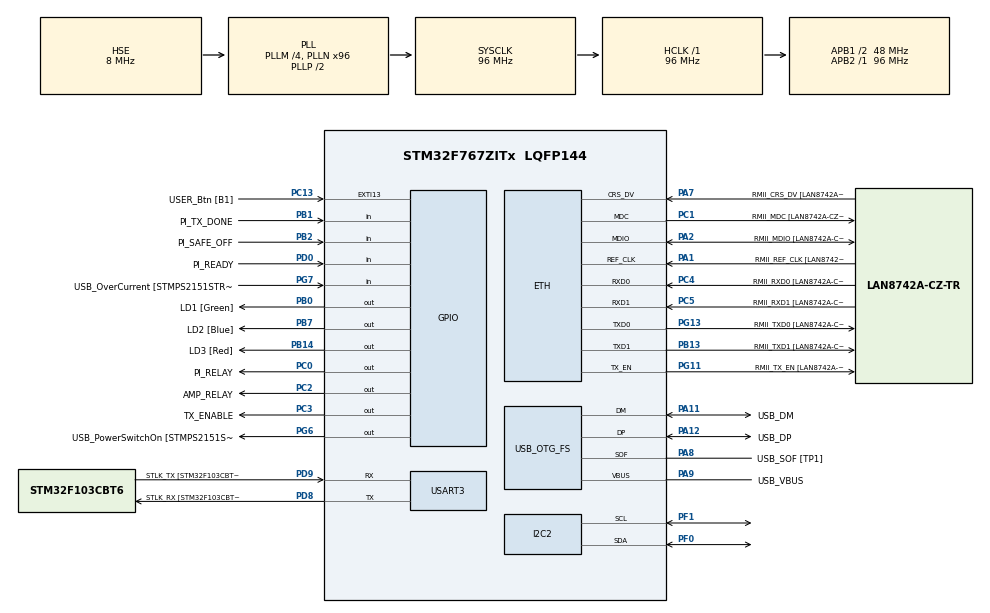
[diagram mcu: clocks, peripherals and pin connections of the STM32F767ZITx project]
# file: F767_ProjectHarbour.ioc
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CORTEX_M7.default_mode_Activation=1
ETH.MediaInterface=HAL_ETH_RMII_MODE
ETH.PHY_Name=LAN8742A_PHY_ADDRESS
ETH.PHY_Value=0
ETH.PhyAddress=0
I2C2.Timing=0x20303E5D
Mcu.Family=STM32F7
Mcu.Name=STM32F767ZITx
Mcu.Package=LQFP144
NVIC.PriorityGroup=NVIC_PRIORITYGROUP_4
PA1.GPIO_Label=RMII_REF_CLK [LAN8742A-CZ-TR_REFCLK0]
PA1.Mode=RMII
PA1.Signal=ETH_REF_CLK
PA10.GPIO_Label=USB_ID
PA10.Signal=USB_OTG_FS_ID
PA11.GPIO_Label=USB_DM
PA11.Mode=Device_Only
PA11.Signal=USB_OTG_FS_DM
PA12.GPIO_Label=USB_DP
PA12.Mode=Device_Only
PA12.Signal=USB_OTG_FS_DP
PA13.GPIO_Label=TMS
PA13.Mode=Serial_Wire
PA13.Signal=SYS_JTMS-SWDIO
PA14.GPIO_Label=TCK
PA14.Mode=Serial_Wire
PA14.Signal=SYS_JTCK-SWCLK
PA2.GPIO_Label=RMII_MDIO [LAN8742A-CZ-TR_MDIO]
PA2.Mode=RMII
PA2.Signal=ETH_MDIO
PA7.GPIO_Label=RMII_CRS_DV [LAN8742A-CZ-TR_CRS_DV]
PA7.Mode=RMII
PA7.Signal=ETH_CRS_DV
PA8.GPIO_Label=USB_SOF [TP1]
PA8.Mode=Activate_SOF_FS
PA8.Signal=USB_OTG_FS_SOF
PA9.GPIO_Label=USB_VBUS
PA9.Mode=Activate_VBUS
PA9.Signal=USB_OTG_FS_VBUS
PB0.GPIO_Label=LD1 [Green]
PB0.Signal=GPIO_Output
PB1.GPIO_Label=PI_TX_DONE
PB1.GPIO_PuPd=GPIO_PULLDOWN
PB1.Signal=GPIO_Input
PB13.GPIO_Label=RMII_TXD1 [LAN8742A-CZ-TR_TXD1]
PB13.Mode=RMII
PB13.Signal=ETH_TXD1
PB14.GPIO_Label=LD3 [Red]
PB14.Signal=GPIO_Output
PB2.GPIO_Label=PI_SAFE_OFF
PB2.GPIO_PuPd=GPIO_PULLDOWN
PB2.Signal=GPIO_Input
PB3.GPIO_Label=SWO
PB3.Signal=SYS_JTDO-SWO
PB7.GPIO_Label=LD2 [Blue]
PB7.Signal=GPIO_Output
PC0.GPIO_Label=PI_RELAY
PC0.PinState=GPIO_PIN_SET
PC0.Signal=GPIO_Output
PC1.GPIO_Label=RMII_MDC [LAN8742A-CZ-TR_MDC]
PC1.Mode=RMII
PC1.Signal=ETH_MDC
PC13.GPIO_Label=USER_Btn [B1]
PC13.Signal=GPXTI13
PC14/OSC32_IN.Mode=LSE-External-Oscillator
PC14/OSC32_IN.Signal=RCC_OSC32_IN
PC15/OSC32_OUT.Mode=LSE-External-Oscillator
PC15/OSC32_OUT.Signal=RCC_OSC32_OUT
PC2.GPIO_Label=AMP_RELAY
PC2.PinState=GPIO_PIN_SET
PC2.Signal=GPIO_Output
PC3.GPIO_Label=TX_ENABLE
PC3.Signal=GPIO_Output
PC4.GPIO_Label=RMII_RXD0 [LAN8742A-CZ-TR_RXD0]
PC4.Mode=RMII
PC4.Signal=ETH_RXD0
PC5.GPIO_Label=RMII_RXD1 [LAN8742A-CZ-TR_RXD1]
PC5.Mode=RMII
PC5.Signal=ETH_RXD1
PD0.GPIO_Label=PI_READY
PD0.GPIO_PuPd=GPIO_PULLDOWN
PD0.Signal=GPIO_Input
PD8.GPIO_Label=STLK_RX [STM32F103CBT6_PA3]
PD8.Mode=Asynchronous
PD8.Signal=USART3_TX
PD9.GPIO_Label=STLK_TX [STM32F103CBT6_PA2]
PD9.Mode=Asynchronous
PD9.Signal=USART3_RX
PF0.Mode=I2C
PF0.Signal=I2C2_SDA
PF1.Mode=I2C
PF1.Signal=I2C2_SCL
PG11.GPIO_Label=RMII_TX_EN [LAN8742A-CZ-TR_TXEN]
PG11.Mode=RMII
PG11.Signal=ETH_TX_EN
PG13.GPIO_Label=RMII_TXD0 [LAN8742A-CZ-TR_TXD0]
PG13.Mode=RMII
PG13.Signal=ETH_TXD0
PG6.GPIO_Label=USB_PowerSwitchOn [STMPS2151STR_EN]
PG6.Signal=GPIO_Output
PG7.GPIO_Label=USB_OverCurrent [STMPS2151STR_FAULT]
PG7.Signal=GPIO_Input
PH0/OSC_IN.GPIO_Label=MCO [STM32F103CBT6_PA8]
PH0/OSC_IN.Mode=HSE-External-Clock-Source
PH0/OSC_IN.Signal=RCC_OSC_IN
PH1/OSC_OUT.Mode=HSE-External-Clock-Source
PH1/OSC_OUT.Signal=RCC_OSC_OUT
ProjectManager.HeapSize=0x200
ProjectManager.StackSize=0x400
ProjectManager.TargetToolchain=STM32CubeIDE
RCC.48MHZClocksFreq_Value=24000000
RCC.AHBFreq_Value=96000000
RCC.APB1CLKDivider=RCC_HCLK_DIV2
RCC.APB1Freq_Value=48000000
RCC.APB1TimFreq_Value=96000000
RCC.APB2Freq_Value=96000000
RCC.APB2TimFreq_Value=96000000
RCC.CortexFreq_Value=96000000
RCC.HCLKFreq_Value=96000000
RCC.HSE_VALUE=8000000
RCC.HSI_VALUE=16000000
RCC.PLLM=4
RCC.PLLMUL=RCC_PLL_MUL9
RCC.PLLN=96
RCC.PLLQ=4
RCC.PRESCALERUSB=RCC_USBCLKSOURCE_PLL_DIV1_5
RCC.SYSCLKFreq_VALUE=96000000
RCC.SYSCLKSource=RCC_SYSCLKSOURCE_PLLCLK
RCC.SYSCLKSourceVirtual=RCC_SYSCLKSOURCE_PLLCLK
RCC.USBFreq_Value=48000000
RCC.VCOOutputFreq_Value=192000000
USART3.VirtualMode-Asynchronous=VM_ASYNC
USB_OTG_FS.VirtualMode=Device_Only
board=NUCLEO-F767ZI

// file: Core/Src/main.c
/* USER CODE BEGIN Header */
/* F767_ProjectHarbour */
/**
  ******************************************************************************
  * @file           : main.c
  * @brief          : Main program body
  ******************************************************************************
  * @attention
  *
  * Copyright (c) 2026 STMicroelectronics.
  * All rights reserved.
  *
  * This software is licensed under terms that can be found in the LICENSE file
  * in the root directory of this software component.
  * If no LICENSE file comes with this software, it is provided AS-IS.
  *
  ******************************************************************************
  */
/* USER CODE END Header */
#include "main.h"
#include "string.h"

/* USER CODE BEGIN Includes */
#include <stdint.h>
#include <stdbool.h>
/* USER CODE END Includes */

/* USER CODE BEGIN PTD */
typedef struct
{
  uint8_t second;
  uint8_t minute;
  uint8_t hour;
  uint8_t day;
  uint8_t date;
  uint8_t month;
  uint8_t year;
} DS3231_Time_t;

typedef enum
{
  SYS_IDLE = 0,
  SYS_AMP_STARTUP,
  SYS_PI_BOOTING,
  SYS_WAIT_TX_DONE,
  SYS_WAIT_SAFE_OFF,
  SYS_PI_POWER_OFF_DELAY,
  SYS_ERROR
} SystemState_t;

/* USER CODE END PTD */

/* USER CODE BEGIN PD */
#define DS3231_ADDR             (0x68 << 1)

#define SCHEDULE_INTERVAL_MIN   5

#define PI_BOOT_TIMEOUT_MS      90000UL
#define TX_TIMEOUT_MS           180000UL
#define SHUTDOWN_TIMEOUT_MS     60000UL

#define READY_CONFIRM_MS        500UL
#define DONE_CONFIRM_MS         1000UL
#define SAFE_OFF_CONFIRM_MS     200UL

#define AMP_WARMUP_MS           2000UL
#define ERROR_RECOVERY_MS       5000UL
#define RTC_POLL_INTERVAL_MS    100UL
#define PI_POWER_OFF_DELAY_MS   10000UL

/* Only trigger near the beginning of the scheduled minute. */
#define SCHEDULE_SECOND_WINDOW  1U

#define RELAY_ACTIVE_LOW        1
/* USER CODE END PD */

#if defined ( __ICCARM__ ) /*!< IAR Compiler */
#pragma location=0x2007c000
ETH_DMADescTypeDef  DMARxDscrTab[ETH_RX_DESC_CNT]; /* Ethernet Rx DMA Descriptors */
#pragma location=0x2007c0a0
ETH_DMADescTypeDef  DMATxDscrTab[ETH_TX_DESC_CNT]; /* Ethernet Tx DMA Descriptors */

#elif defined ( __CC_ARM )  /* MDK ARM Compiler */

__attribute__((at(0x2007c000))) ETH_DMADescTypeDef  DMARxDscrTab[ETH_RX_DESC_CNT]; /* Ethernet Rx DMA Descriptors */
__attribute__((at(0x2007c0a0))) ETH_DMADescTypeDef  DMATxDscrTab[ETH_TX_DESC_CNT]; /* Ethernet Tx DMA Descriptors */

#elif defined ( __GNUC__ ) /* GNU Compiler */

ETH_DMADescTypeDef DMARxDscrTab[ETH_RX_DESC_CNT] __attribute__((section(".RxDecripSection"))); /* Ethernet Rx DMA Descriptors */
ETH_DMADescTypeDef DMATxDscrTab[ETH_TX_DESC_CNT] __attribute__((section(".TxDecripSection")));   /* Ethernet Tx DMA Descriptors */
#endif

ETH_TxPacketConfig TxConfig;

ETH_HandleTypeDef heth;

I2C_HandleTypeDef hi2c2;

UART_HandleTypeDef huart3;

PCD_HandleTypeDef hpcd_USB_OTG_FS;

/* USER CODE BEGIN PV */
DS3231_Time_t rtc_time;

SystemState_t system_state = SYS_IDLE;

uint32_t state_start_tick = 0;

uint32_t ready_high_tick = 0;
uint32_t done_high_tick = 0;
uint32_t safe_high_tick = 0;
uint32_t last_rtc_poll_tick = 0;

uint32_t last_trigger_id = 0;
/* USER CODE END PV */

void SystemClock_Config(void);
static void MPU_Config(void);
static void MX_GPIO_Init(void);
static void MX_ETH_Init(void);
static void MX_I2C2_Init(void);
static void MX_USART3_UART_Init(void);
static void MX_USB_OTG_FS_PCD_Init(void);

/* USER CODE BEGIN 0 */
// ============================================================
// === DS3231 + Raspberry Pi / Amplifier supervisor functions
// ============================================================
static uint8_t BCD_To_Dec(uint8_t value)
{
  return ((value >> 4) * 10U) + (value & 0x0FU);
}

HAL_StatusTypeDef DS3231_ReadTime(DS3231_Time_t *time)
{
  uint8_t data[7];

  if (HAL_I2C_Mem_Read(&hi2c2,
                       DS3231_ADDR,
                       0x00,
                       I2C_MEMADD_SIZE_8BIT,
                       data,
                       7,
                       100) != HAL_OK)
  {
    return HAL_ERROR;
  }

  time->second = BCD_To_Dec(data[0] & 0x7F);
  time->minute = BCD_To_Dec(data[1] & 0x7F);
  time->hour   = BCD_To_Dec(data[2] & 0x3F);   // DS3231 configured for 24-hour mode
  time->day    = BCD_To_Dec(data[3] & 0x07);
  time->date   = BCD_To_Dec(data[4] & 0x3F);
  time->month  = BCD_To_Dec(data[5] & 0x1F);
  time->year   = BCD_To_Dec(data[6]);

  return HAL_OK;
}

// ============================================================
// === Relay control
// === RELAY_ACTIVE_LOW = 1 means LOW -> relay ON
// ============================================================
void Pi_Relay_On(void)
{
#if RELAY_ACTIVE_LOW
  HAL_GPIO_WritePin(PI_RELAY_GPIO_Port, PI_RELAY_Pin, GPIO_PIN_RESET);
#else
  HAL_GPIO_WritePin(PI_RELAY_GPIO_Port, PI_RELAY_Pin, GPIO_PIN_SET);
#endif
}

void Pi_Relay_Off(void)
{
#if RELAY_ACTIVE_LOW
  HAL_GPIO_WritePin(PI_RELAY_GPIO_Port, PI_RELAY_Pin, GPIO_PIN_SET);
#else
  HAL_GPIO_WritePin(PI_RELAY_GPIO_Port, PI_RELAY_Pin, GPIO_PIN_RESET);
#endif
}

void Amp_Relay_On(void)
{
#if RELAY_ACTIVE_LOW
  HAL_GPIO_WritePin(AMP_RELAY_GPIO_Port, AMP_RELAY_Pin, GPIO_PIN_RESET);
#else
  HAL_GPIO_WritePin(AMP_RELAY_GPIO_Port, AMP_RELAY_Pin, GPIO_PIN_SET);
#endif
}

void Amp_Relay_Off(void)
{
#if RELAY_ACTIVE_LOW
  HAL_GPIO_WritePin(AMP_RELAY_GPIO_Port, AMP_RELAY_Pin, GPIO_PIN_SET);
#else
  HAL_GPIO_WritePin(AMP_RELAY_GPIO_Port, AMP_RELAY_Pin, GPIO_PIN_RESET);
#endif
}

// ============================================================
// === STM32 -> Raspberry Pi TX enable
// ============================================================
void Tx_Enable_On(void)
{
  HAL_GPIO_WritePin(TX_ENABLE_GPIO_Port, TX_ENABLE_Pin, GPIO_PIN_SET);
}

void Tx_Enable_Off(void)
{
  HAL_GPIO_WritePin(TX_ENABLE_GPIO_Port, TX_ENABLE_Pin, GPIO_PIN_RESET);
}

// ============================================================
// === Schedule helper
// === Unique ID for YY/MM/DD HH:MM, used to prevent duplicate trigger
// ============================================================
static uint32_t Get_Schedule_ID(const DS3231_Time_t *t)
{
  /*
   * Pack YY/MM/DD HH:MM into 27 bits:
   * year(7) + month(4) + date(5) + hour(5) + minute(6).
   * This avoids decimal multiplication overflow on uint32_t.
   */
  return (((uint32_t)t->year  & 0x7FU) << 20) |
         (((uint32_t)t->month & 0x0FU) << 16) |
         (((uint32_t)t->date  & 0x1FU) << 11) |
         (((uint32_t)t->hour  & 0x1FU) <<  6) |
         (((uint32_t)t->minute & 0x3FU));
}

static bool Is_Schedule_Time(const DS3231_Time_t *t)
{
  uint32_t trigger_id;

  if ((t->minute % SCHEDULE_INTERVAL_MIN) != 0U)
  {
    return false;
  }

  /* Trigger only at the beginning of 00, 05, 10, ... minutes. */
  if (t->second > SCHEDULE_SECOND_WINDOW)
  {
    return false;
  }

  trigger_id = Get_Schedule_ID(t);

  if (trigger_id == last_trigger_id)
  {
    return false;
  }

  return true;
}

// ============================================================
// === GPIO long-high confirmation / glitch rejection
// ============================================================
static bool Confirm_High(GPIO_TypeDef *port,
                         uint16_t pin,
                         uint32_t *high_start_tick,
                         uint32_t confirm_ms)
{
  uint32_t now = HAL_GetTick();

  if (HAL_GPIO_ReadPin(port, pin) == GPIO_PIN_SET)
  {
    if (*high_start_tick == 0U)
    {
      /* Avoid using 0 as a valid start marker. */
      *high_start_tick = (now == 0U) ? 1U : now;
    }

    if ((now - *high_start_tick) >= confirm_ms)
    {
      return true;
    }
  }
  else
  {
    *high_start_tick = 0U;
  }

  return false;
}

// ============================================================
// === Autonomous system state machine
// ============================================================
static void System_StateMachine(void)
{
  uint32_t now = HAL_GetTick();

  switch (system_state)
  {
    case SYS_IDLE:
      /* Safe idle outputs. */
      Tx_Enable_Off();
      Amp_Relay_Off();
      Pi_Relay_Off();

      /* Poll DS3231 at 10 Hz instead of on every main-loop iteration. */
      if ((now - last_rtc_poll_tick) >= RTC_POLL_INTERVAL_MS)
      {
        last_rtc_poll_tick = now;

        if (DS3231_ReadTime(&rtc_time) == HAL_OK)
        {
          if (Is_Schedule_Time(&rtc_time))
          {
            last_trigger_id = Get_Schedule_ID(&rtc_time);

            ready_high_tick = 0U;
            done_high_tick = 0U;
            safe_high_tick = 0U;

            /* Step 1: power amplifier first. */
            Amp_Relay_On();

            state_start_tick = now;
            system_state = SYS_AMP_STARTUP;
          }
        }
      }
      break;

    case SYS_AMP_STARTUP:
      /* Step 2: wait for amplifier power to stabilize before powering Raspberry Pi. */
      if ((now - state_start_tick) >= AMP_WARMUP_MS)
      {
        Pi_Relay_On();

        ready_high_tick = 0U;
        safe_high_tick = 0U;
        state_start_tick = now;
        system_state = SYS_PI_BOOTING;
      }
      break;

    case SYS_PI_BOOTING:
      /* Pi raises PI_READY after GPS fix + waveform preparation. */
      if (Confirm_High(PI_READY_GPIO_Port,
                       PI_READY_Pin,
                       &ready_high_tick,
                       READY_CONFIRM_MS))
      {
        /* Step 3: amplifier is already on; allow acoustic transmission now. */
        Tx_Enable_On();
        done_high_tick = 0U;
        safe_high_tick = 0U;
        state_start_tick = now;
        system_state = SYS_WAIT_TX_DONE;
      }
      else if (Confirm_High(PI_SAFE_OFF_GPIO_Port,
                            PI_SAFE_OFF_Pin,
                            &safe_high_tick,
                            SAFE_OFF_CONFIRM_MS))
      {
        /* Python failed before READY and requested shutdown. */
        Tx_Enable_Off();
        Amp_Relay_Off();
        state_start_tick = now;
        system_state = SYS_PI_POWER_OFF_DELAY;
      }
      else if ((now - state_start_tick) >= PI_BOOT_TIMEOUT_MS)
      {
        /* Pi never became ready: fail safely. */
        Tx_Enable_Off();
        Amp_Relay_Off();
        Pi_Relay_Off();
        state_start_tick = now;
        system_state = SYS_ERROR;
      }
      break;

    case SYS_WAIT_TX_DONE:
      /* Pi holds PI_TX_DONE high for several seconds after playback ends. */
      if (Confirm_High(PI_TX_DONE_GPIO_Port,
                       PI_TX_DONE_Pin,
                       &done_high_tick,
                       DONE_CONFIRM_MS))
      {
        /* Step 4: stop TX permission and remove amplifier power immediately. */
        Tx_Enable_Off();
        Amp_Relay_Off();

        safe_high_tick = 0U;
        state_start_tick = now;
        system_state = SYS_WAIT_SAFE_OFF;
      }
      else if (Confirm_High(PI_SAFE_OFF_GPIO_Port,
                            PI_SAFE_OFF_Pin,
                            &safe_high_tick,
                            SAFE_OFF_CONFIRM_MS))
      {
        /* Python failed during TX stage and requested shutdown. */
        Tx_Enable_Off();
        Amp_Relay_Off();
        state_start_tick = now;
        system_state = SYS_PI_POWER_OFF_DELAY;
      }
      else if ((now - state_start_tick) >= TX_TIMEOUT_MS)
      {
        /* Transmission hung or no DONE received. */
        Tx_Enable_Off();
        Amp_Relay_Off();

        /* Give Linux a chance to power off; force-cut later if it never does. */
        safe_high_tick = 0U;
        state_start_tick = now;
        system_state = SYS_WAIT_SAFE_OFF;
      }
      break;

    case SYS_WAIT_SAFE_OFF:
      /* Python raises PI_SAFE_OFF before Linux shutdown; wait for confirmation. */
      if (Confirm_High(PI_SAFE_OFF_GPIO_Port,
                       PI_SAFE_OFF_Pin,
                       &safe_high_tick,
                       SAFE_OFF_CONFIRM_MS))
      {
        /* Step 5: begin the non-blocking delay before removing physical Pi power. */

        state_start_tick = now;

        system_state = SYS_PI_POWER_OFF_DELAY;
      }
      else if ((now - state_start_tick) >= SHUTDOWN_TIMEOUT_MS)
      {
        /* Last-resort fail-safe: force power removal if Pi never signals safe-off. */
        Tx_Enable_Off();
        Amp_Relay_Off();
        Pi_Relay_Off();
        state_start_tick = now;
        system_state = SYS_ERROR;
      }
      break;

    case SYS_PI_POWER_OFF_DELAY:
      if ((now - state_start_tick) >= PI_POWER_OFF_DELAY_MS)
      {
          Pi_Relay_Off();

          printf("[STM32] PI_RELAY -> OFF\r\n");

          system_state = SYS_IDLE;
      }

      break;

    case SYS_ERROR:
      /* Always leave the hardware in a safe de-energized state. */
      Tx_Enable_Off();
      Amp_Relay_Off();
      Pi_Relay_Off();

      if ((now - state_start_tick) >= ERROR_RECOVERY_MS)
      {
        ready_high_tick = 0U;
        done_high_tick = 0U;
        safe_high_tick = 0U;
        system_state = SYS_IDLE;
      }
      break;

    default:
      Tx_Enable_Off();
      Amp_Relay_Off();
      Pi_Relay_Off();
      state_start_tick = now;
      system_state = SYS_ERROR;
      break;
  }
}
/* USER CODE END 0 */

int main(void)
{

  /* MPU Configuration--------------------------------------------------------*/
  MPU_Config();

  /* MCU Configuration--------------------------------------------------------*/

  /* Reset of all peripherals, Initializes the Flash interface and the Systick. */
  HAL_Init();

  /* Configure the system clock */
  SystemClock_Config();

  /* Initialize all configured peripherals */
  MX_GPIO_Init();
  MX_ETH_Init();
  MX_I2C2_Init();
  MX_USART3_UART_Init();
  MX_USB_OTG_FS_PCD_Init();
  /* USER CODE BEGIN 2 */
  // ============================================================
  // === Force a known-safe startup state
  // ============================================================
  Tx_Enable_Off();
  Amp_Relay_Off();
  Pi_Relay_Off();

  ready_high_tick = 0U;
  done_high_tick = 0U;
  safe_high_tick = 0U;
  last_rtc_poll_tick = HAL_GetTick();
  system_state = SYS_IDLE;
  /* USER CODE END 2 */

  /* Infinite loop */
  while (1)
  {

    /* USER CODE BEGIN 3 */
    System_StateMachine();
    HAL_Delay(10);
  }
  /* USER CODE END 3 */
}

void SystemClock_Config(void)
{
  RCC_OscInitTypeDef RCC_OscInitStruct = {0};
  RCC_ClkInitTypeDef RCC_ClkInitStruct = {0};

  /** Configure LSE Drive Capability
  */
  HAL_PWR_EnableBkUpAccess();

  /** Configure the main internal regulator output voltage
  */
  __HAL_RCC_PWR_CLK_ENABLE();
  __HAL_PWR_VOLTAGESCALING_CONFIG(PWR_REGULATOR_VOLTAGE_SCALE3);

  /** Initializes the RCC Oscillators according to the specified parameters
  * in the RCC_OscInitTypeDef structure.
  */
  RCC_OscInitStruct.OscillatorType = RCC_OSCILLATORTYPE_HSE;
  RCC_OscInitStruct.HSEState = RCC_HSE_BYPASS;
  RCC_OscInitStruct.PLL.PLLState = RCC_PLL_ON;
  RCC_OscInitStruct.PLL.PLLSource = RCC_PLLSOURCE_HSE;
  RCC_OscInitStruct.PLL.PLLM = 4;
  RCC_OscInitStruct.PLL.PLLN = 96;
  RCC_OscInitStruct.PLL.PLLP = RCC_PLLP_DIV2;
  RCC_OscInitStruct.PLL.PLLQ = 4;
  RCC_OscInitStruct.PLL.PLLR = 2;
  if (HAL_RCC_OscConfig(&RCC_OscInitStruct) != HAL_OK)
  {
    Error_Handler();
  }

  /** Activate the Over-Drive mode
  */
  if (HAL_PWREx_EnableOverDrive() != HAL_OK)
  {
    Error_Handler();
  }

  /** Initializes the CPU, AHB and APB buses clocks
  */
  RCC_ClkInitStruct.ClockType = RCC_CLOCKTYPE_HCLK|RCC_CLOCKTYPE_SYSCLK
                              |RCC_CLOCKTYPE_PCLK1|RCC_CLOCKTYPE_PCLK2;
  RCC_ClkInitStruct.SYSCLKSource = RCC_SYSCLKSOURCE_PLLCLK;
  RCC_ClkInitStruct.AHBCLKDivider = RCC_SYSCLK_DIV1;
  RCC_ClkInitStruct.APB1CLKDivider = RCC_HCLK_DIV2;
  RCC_ClkInitStruct.APB2CLKDivider = RCC_HCLK_DIV1;

  if (HAL_RCC_ClockConfig(&RCC_ClkInitStruct, FLASH_LATENCY_3) != HAL_OK)
  {
    Error_Handler();
  }
}

static void MX_ETH_Init(void)
{

   static uint8_t MACAddr[6];

  heth.Instance = ETH;
  MACAddr[0] = 0x00;
  MACAddr[1] = 0x80;
  MACAddr[2] = 0xE1;
  MACAddr[3] = 0x00;
  MACAddr[4] = 0x00;
  MACAddr[5] = 0x00;
  heth.Init.MACAddr = &MACAddr[0];
  heth.Init.MediaInterface = HAL_ETH_RMII_MODE;
  heth.Init.TxDesc = DMATxDscrTab;
  heth.Init.RxDesc = DMARxDscrTab;
  heth.Init.RxBuffLen = 1524;

  if (HAL_ETH_Init(&heth) != HAL_OK)
  {
    Error_Handler();
  }

  memset(&TxConfig, 0 , sizeof(ETH_TxPacketConfig));
  TxConfig.Attributes = ETH_TX_PACKETS_FEATURES_CSUM | ETH_TX_PACKETS_FEATURES_CRCPAD;
  TxConfig.ChecksumCtrl = ETH_CHECKSUM_IPHDR_PAYLOAD_INSERT_PHDR_CALC;
  TxConfig.CRCPadCtrl = ETH_CRC_PAD_INSERT;

}

static void MX_I2C2_Init(void)
{

  hi2c2.Instance = I2C2;
  hi2c2.Init.Timing = 0x20303E5D;
  hi2c2.Init.OwnAddress1 = 0;
  hi2c2.Init.AddressingMode = I2C_ADDRESSINGMODE_7BIT;
  hi2c2.Init.DualAddressMode = I2C_DUALADDRESS_DISABLE;
  hi2c2.Init.OwnAddress2 = 0;
  hi2c2.Init.OwnAddress2Masks = I2C_OA2_NOMASK;
  hi2c2.Init.GeneralCallMode = I2C_GENERALCALL_DISABLE;
  hi2c2.Init.NoStretchMode = I2C_NOSTRETCH_DISABLE;
  if (HAL_I2C_Init(&hi2c2) != HAL_OK)
  {
    Error_Handler();
  }

  /** Configure Analogue filter
  */
  if (HAL_I2CEx_ConfigAnalogFilter(&hi2c2, I2C_ANALOGFILTER_ENABLE) != HAL_OK)
  {
    Error_Handler();
  }

  /** Configure Digital filter
  */
  if (HAL_I2CEx_ConfigDigitalFilter(&hi2c2, 0) != HAL_OK)
  {
    Error_Handler();
  }

}

static void MX_USART3_UART_Init(void)
{

  huart3.Instance = USART3;
  huart3.Init.BaudRate = 115200;
  huart3.Init.WordLength = UART_WORDLENGTH_8B;
  huart3.Init.StopBits = UART_STOPBITS_1;
  huart3.Init.Parity = UART_PARITY_NONE;
  huart3.Init.Mode = UART_MODE_TX_RX;
  huart3.Init.HwFlowCtl = UART_HWCONTROL_NONE;
  huart3.Init.OverSampling = UART_OVERSAMPLING_16;
  huart3.Init.OneBitSampling = UART_ONE_BIT_SAMPLE_DISABLE;
  huart3.AdvancedInit.AdvFeatureInit = UART_ADVFEATURE_NO_INIT;
  if (HAL_UART_Init(&huart3) != HAL_OK)
  {
    Error_Handler();
  }

}

static void MX_USB_OTG_FS_PCD_Init(void)
{

  hpcd_USB_OTG_FS.Instance = USB_OTG_FS;
  hpcd_USB_OTG_FS.Init.dev_endpoints = 6;
  hpcd_USB_OTG_FS.Init.speed = PCD_SPEED_FULL;
  hpcd_USB_OTG_FS.Init.dma_enable = DISABLE;
  hpcd_USB_OTG_FS.Init.phy_itface = PCD_PHY_EMBEDDED;
  hpcd_USB_OTG_FS.Init.Sof_enable = ENABLE;
  hpcd_USB_OTG_FS.Init.low_power_enable = DISABLE;
  hpcd_USB_OTG_FS.Init.lpm_enable = DISABLE;
  hpcd_USB_OTG_FS.Init.vbus_sensing_enable = ENABLE;
  hpcd_USB_OTG_FS.Init.use_dedicated_ep1 = DISABLE;
  if (HAL_PCD_Init(&hpcd_USB_OTG_FS) != HAL_OK)
  {
    Error_Handler();
  }

}

static void MX_GPIO_Init(void)
{
  GPIO_InitTypeDef GPIO_InitStruct = {0};

  /* GPIO Ports Clock Enable */
  __HAL_RCC_GPIOC_CLK_ENABLE();
  __HAL_RCC_GPIOF_CLK_ENABLE();
  __HAL_RCC_GPIOH_CLK_ENABLE();
  __HAL_RCC_GPIOA_CLK_ENABLE();
  __HAL_RCC_GPIOB_CLK_ENABLE();
  __HAL_RCC_GPIOD_CLK_ENABLE();
  __HAL_RCC_GPIOG_CLK_ENABLE();

  /*Configure GPIO pin Output Level */
  HAL_GPIO_WritePin(GPIOC, PI_RELAY_Pin|AMP_RELAY_Pin, GPIO_PIN_SET);

  /*Configure GPIO pin Output Level */
  HAL_GPIO_WritePin(TX_ENABLE_GPIO_Port, TX_ENABLE_Pin, GPIO_PIN_RESET);

  /*Configure GPIO pin Output Level */
  HAL_GPIO_WritePin(GPIOB, LD1_Pin|LD3_Pin|LD2_Pin, GPIO_PIN_RESET);

  /*Configure GPIO pin Output Level */
  HAL_GPIO_WritePin(USB_PowerSwitchOn_GPIO_Port, USB_PowerSwitchOn_Pin, GPIO_PIN_RESET);

  /*Configure GPIO pin : USER_Btn_Pin */
  GPIO_InitStruct.Pin = USER_Btn_Pin;
  GPIO_InitStruct.Mode = GPIO_MODE_IT_RISING;
  GPIO_InitStruct.Pull = GPIO_NOPULL;
  HAL_GPIO_Init(USER_Btn_GPIO_Port, &GPIO_InitStruct);

  /*Configure GPIO pins : PI_RELAY_Pin AMP_RELAY_Pin TX_ENABLE_Pin */
  GPIO_InitStruct.Pin = PI_RELAY_Pin|AMP_RELAY_Pin|TX_ENABLE_Pin;
  GPIO_InitStruct.Mode = GPIO_MODE_OUTPUT_PP;
  GPIO_InitStruct.Pull = GPIO_NOPULL;
  GPIO_InitStruct.Speed = GPIO_SPEED_FREQ_LOW;
  HAL_GPIO_Init(GPIOC, &GPIO_InitStruct);

  /*Configure GPIO pins : LD1_Pin LD3_Pin LD2_Pin */
  GPIO_InitStruct.Pin = LD1_Pin|LD3_Pin|LD2_Pin;
  GPIO_InitStruct.Mode = GPIO_MODE_OUTPUT_PP;
  GPIO_InitStruct.Pull = GPIO_NOPULL;
  GPIO_InitStruct.Speed = GPIO_SPEED_FREQ_LOW;
  HAL_GPIO_Init(GPIOB, &GPIO_InitStruct);

  /*Configure GPIO pins : PI_TX_DONE_Pin PI_SAFE_OFF_Pin */
  GPIO_InitStruct.Pin = PI_TX_DONE_Pin|PI_SAFE_OFF_Pin;
  GPIO_InitStruct.Mode = GPIO_MODE_INPUT;
  GPIO_InitStruct.Pull = GPIO_PULLDOWN;
  HAL_GPIO_Init(GPIOB, &GPIO_InitStruct);

  /*Configure GPIO pin : USB_PowerSwitchOn_Pin */
  GPIO_InitStruct.Pin = USB_PowerSwitchOn_Pin;
  GPIO_InitStruct.Mode = GPIO_MODE_OUTPUT_PP;
  GPIO_InitStruct.Pull = GPIO_NOPULL;
  GPIO_InitStruct.Speed = GPIO_SPEED_FREQ_LOW;
  HAL_GPIO_Init(USB_PowerSwitchOn_GPIO_Port, &GPIO_InitStruct);

  /*Configure GPIO pin : USB_OverCurrent_Pin */
  GPIO_InitStruct.Pin = USB_OverCurrent_Pin;
  GPIO_InitStruct.Mode = GPIO_MODE_INPUT;
  GPIO_InitStruct.Pull = GPIO_NOPULL;
  HAL_GPIO_Init(USB_OverCurrent_GPIO_Port, &GPIO_InitStruct);

  /*Configure GPIO pin : PI_READY_Pin */
  GPIO_InitStruct.Pin = PI_READY_Pin;
  GPIO_InitStruct.Mode = GPIO_MODE_INPUT;
  GPIO_InitStruct.Pull = GPIO_PULLDOWN;
  HAL_GPIO_Init(PI_READY_GPIO_Port, &GPIO_InitStruct);

}

 /* MPU Configuration */

void MPU_Config(void)
{
  MPU_Region_InitTypeDef MPU_InitStruct = {0};

  /* Disables the MPU */
  HAL_MPU_Disable();

  /** Initializes and configures the Region and the memory to be protected
  */
  MPU_InitStruct.Enable = MPU_REGION_ENABLE;
  MPU_InitStruct.Number = MPU_REGION_NUMBER0;
  MPU_InitStruct.BaseAddress = 0x0;
  MPU_InitStruct.Size = MPU_REGION_SIZE_4GB;
  MPU_InitStruct.SubRegionDisable = 0x87;
  MPU_InitStruct.TypeExtField = MPU_TEX_LEVEL0;
  MPU_InitStruct.AccessPermission = MPU_REGION_NO_ACCESS;
  MPU_InitStruct.DisableExec = MPU_INSTRUCTION_ACCESS_DISABLE;
  MPU_InitStruct.IsShareable = MPU_ACCESS_SHAREABLE;
  MPU_InitStruct.IsCacheable = MPU_ACCESS_NOT_CACHEABLE;
  MPU_InitStruct.IsBufferable = MPU_ACCESS_NOT_BUFFERABLE;

  HAL_MPU_ConfigRegion(&MPU_InitStruct);
  /* Enables the MPU */
  HAL_MPU_Enable(MPU_PRIVILEGED_DEFAULT);

}

void Error_Handler(void)
{
  __disable_irq();
  while (1)
  {
  }
}
